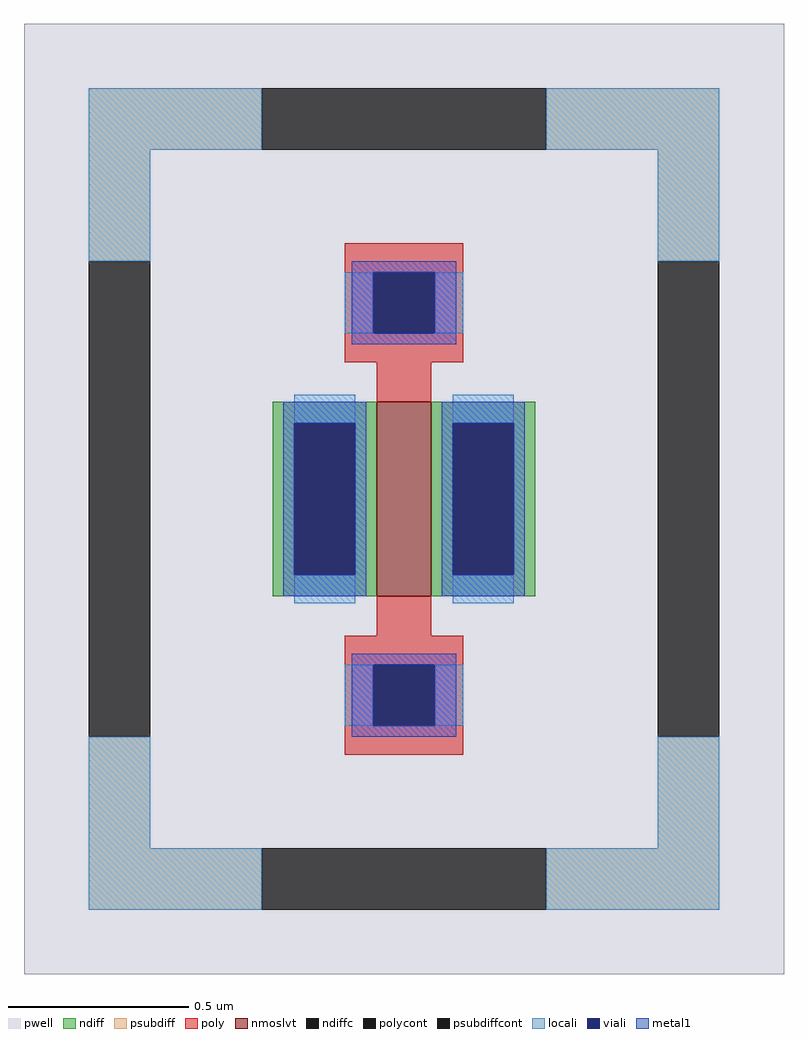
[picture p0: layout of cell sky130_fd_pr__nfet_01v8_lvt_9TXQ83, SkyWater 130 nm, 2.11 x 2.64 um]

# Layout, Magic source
magic
tech sky130A
magscale 1 2
<< pwell >>
rect -211 -264 211 264
<< nmoslvt >>
rect -15 -54 15 54
<< ndiff >>
rect -73 42 -15 54
rect -73 -42 -61 42
rect -27 -42 -15 42
rect -73 -54 -15 -42
rect 15 42 73 54
rect 15 -42 27 42
rect 61 -42 73 42
rect 15 -54 73 -42
<< ndiffc >>
rect -61 -42 -27 42
rect 27 -42 61 42
<< psubdiff >>
rect -175 194 -79 228
rect 79 194 175 228
rect -175 132 -141 194
rect 141 132 175 194
rect -175 -194 -141 -132
rect 141 -194 175 -132
rect -175 -228 -79 -194
rect 79 -228 175 -194
<< psubdiffcont >>
rect -79 194 79 228
rect -175 -132 -141 132
rect 141 -132 175 132
rect -79 -228 79 -194
<< poly >>
rect -33 126 33 142
rect -33 92 -17 126
rect 17 92 33 126
rect -33 76 33 92
rect -15 54 15 76
rect -15 -76 15 -54
rect -33 -92 33 -76
rect -33 -126 -17 -92
rect 17 -126 33 -92
rect -33 -142 33 -126
<< polycont >>
rect -17 92 17 126
rect -17 -126 17 -92
<< locali >>
rect -175 194 -79 228
rect 79 194 175 228
rect -175 132 -141 194
rect 141 132 175 194
rect -33 92 -17 126
rect 17 92 33 126
rect -61 42 -27 58
rect -61 -58 -27 -42
rect 27 42 61 58
rect 27 -58 61 -42
rect -33 -126 -17 -92
rect 17 -126 33 -92
rect -175 -194 -141 -132
rect 141 -194 175 -132
rect -175 -228 -79 -194
rect 79 -228 175 -194
<< viali >>
rect -17 92 17 126
rect -61 -42 -27 42
rect 27 -42 61 42
rect -17 -126 17 -92
<< metal1 >>
rect -29 126 29 132
rect -29 92 -17 126
rect 17 92 29 126
rect -29 86 29 92
rect -67 42 -21 54
rect -67 -42 -61 42
rect -27 -42 -21 42
rect -67 -54 -21 -42
rect 21 42 67 54
rect 21 -42 27 42
rect 61 -42 67 42
rect 21 -54 67 -42
rect -29 -92 29 -86
rect -29 -126 -17 -92
rect 17 -126 29 -92
rect -29 -132 29 -126
<< properties >>
string gencell sky130_fd_pr__nfet_01v8_lvt
string FIXED_BBOX -158 -211 158 211
string parameters w 0.54 l 0.150 m 1 nf 1 diffcov 100 polycov 100 guard 1 glc 1 grc 1 gtc 1 gbc 1 tbcov 100 rlcov 100 topc 1 botc 1 poverlap 0 doverlap 1 lmin 0.15 wmin 0.42 compatible {sky130_fd_pr__nfet_01v8 sky130_fd_pr__nfet_01v8_lvt  sky130_fd_bs_flash__special_sonosfet_star  sky130_fd_pr__nfet_g5v0d10v5 sky130_fd_pr__nfet_05v0_nvt} full_metal 1 viasrc 100 viadrn 100 viagate 100 viagb 0 viagr 0 viagl 0 viagt 0
string library sky130
<< end >>
